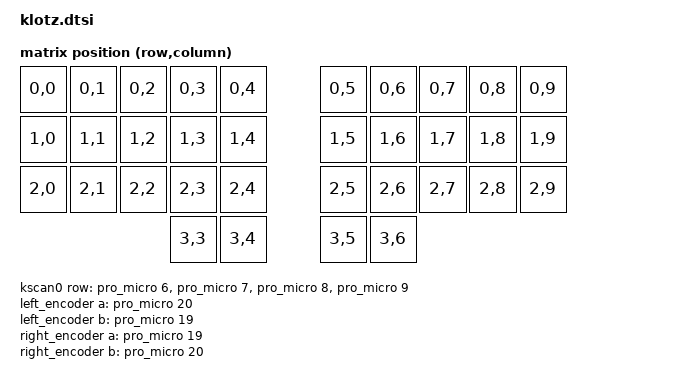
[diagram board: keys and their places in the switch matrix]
#include <dt-bindings/zmk/matrix_transform.h>
#include <zephyr/dt-bindings/pwm/pwm.h>

/ {
    chosen {
        zmk,kscan = &kscan0;
        zmk,matrix-transform = &default_transform;
        zmk,backlight = &backlight;
    };

    default_transform: keymap_transform_0 {
        compatible = "zmk,matrix-transform";
        columns = <10>;
        rows = <4>;
        map = <
            RC(0,0) RC(0,1) RC(0,2) RC(0,3) RC(0,4)    RC(0,5) RC(0,6) RC(0,7) RC(0,8) RC(0,9)
            RC(1,0) RC(1,1) RC(1,2) RC(1,3) RC(1,4)    RC(1,5) RC(1,6) RC(1,7) RC(1,8) RC(1,9)
            RC(2,0) RC(2,1) RC(2,2) RC(2,3) RC(2,4)    RC(2,5) RC(2,6) RC(2,7) RC(2,8) RC(2,9)
                                    RC(3,3) RC(3,4)    RC(3,5) RC(3,6)
        >;
    };

    kscan0: kscan {
        compatible = "zmk,kscan-gpio-matrix";
        diode-direction = "col2row";
        wakeup-source;

        row-gpios
            = <&pro_micro 6 (GPIO_ACTIVE_HIGH | GPIO_PULL_DOWN)>
            , <&pro_micro 7 (GPIO_ACTIVE_HIGH | GPIO_PULL_DOWN)>
            , <&pro_micro 8 (GPIO_ACTIVE_HIGH | GPIO_PULL_DOWN)>
            , <&pro_micro 9 (GPIO_ACTIVE_HIGH | GPIO_PULL_DOWN)>
            ;
    };

    left_encoder: left_encoder {
        compatible = "alps,ec11";
        a-gpios = <&pro_micro 20 (GPIO_ACTIVE_HIGH | GPIO_PULL_UP)>;
        b-gpios = <&pro_micro 19 (GPIO_ACTIVE_HIGH | GPIO_PULL_UP)>;
        steps = <80>;
        status = "disabled";
    };

    right_encoder: right_encoder {
        compatible = "alps,ec11";
        a-gpios = <&pro_micro 19 (GPIO_ACTIVE_HIGH | GPIO_PULL_UP)>;
        b-gpios = <&pro_micro 20 (GPIO_ACTIVE_HIGH | GPIO_PULL_UP)>;
        steps = <80>;
        status = "disabled";
    };

    sensors {
        compatible = "zmk,keymap-sensors";
        sensors = <&left_encoder &right_encoder>;
        triggers-per-rotation = <20>;
    };

    backlight: pwmleds {
        compatible = "pwm-leds";

        led_0 {
            pwms = <&pwm0 0 PWM_USEC(20) PWM_POLARITY_NORMAL>;
        };

        led_1 {
            pwms = <&pwm0 1 PWM_USEC(20) PWM_POLARITY_NORMAL>;
        };

        led_2 {
            pwms = <&pwm0 2 PWM_USEC(20) PWM_POLARITY_NORMAL>;
        };
    };
};

&pinctrl {
    pwm0_default: pwm0_default {
        group1 {
            psels = <NRF_PSEL(PWM_OUT0, 0, 20)>,
                    <NRF_PSEL(PWM_OUT1, 0, 22)>,
                    <NRF_PSEL(PWM_OUT2, 0, 24)>;
        };
    };

    pwm0_sleep: pwm0_sleep {
        group1 {
            psels = <NRF_PSEL(PWM_OUT0, 0, 20)>,
                    <NRF_PSEL(PWM_OUT1, 0, 22)>,
                    <NRF_PSEL(PWM_OUT2, 0, 24)>;
            low-power-enable;
        };
    };
};

&pwm0 {
    status = "okay";
    pinctrl-0 = <&pwm0_default>;
    pinctrl-1 = <&pwm0_sleep>;
    pinctrl-names = "default", "sleep";
};

&uicr {
    nfct-pins-as-gpios;
};
